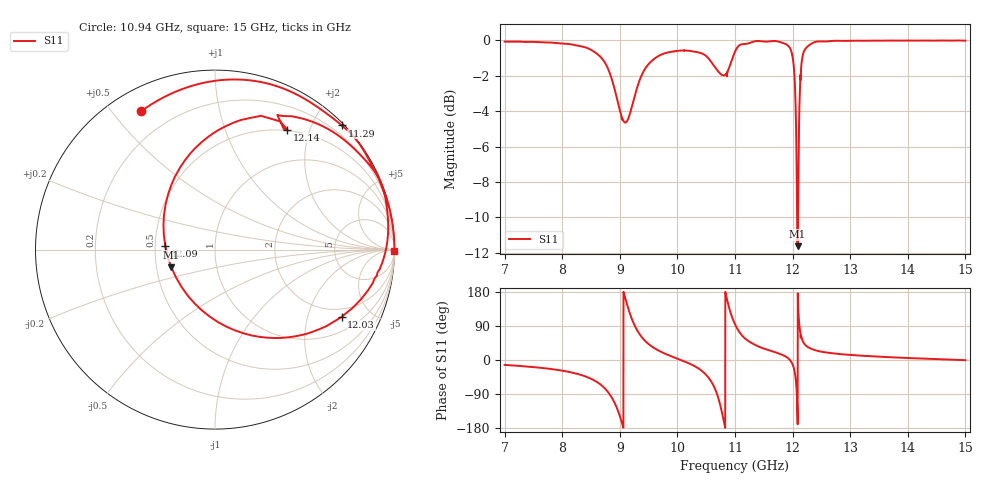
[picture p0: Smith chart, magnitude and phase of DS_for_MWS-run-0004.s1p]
! TOUCHSTONE file generated by CST DESIGN STUDIO
! Date and time: Mon Feb 10 16:41:30 2025
! Project name: C:\Work\MatlabApps\UnitCellType2OptimizationMatlab\CST\unitcell.cst
! Tree item: Tasks\Sweep1\SPara1\S-Parameters
! Header version: 2024
! Port assignment regex: !\s*Touchstone port\s*([0-9]+)\s*=\s*(CST MWS port|CST DES external port|CST DES block port)\s*(.+)\s* \(\"(.*)\"\)(\s*mode\s*([0-9]+))?.*
! Touchstone port assignment:
! Touchstone port 1 = CST DES external port 1 ("")
# GHz S MA R 50
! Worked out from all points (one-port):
!   4001 points, 7 GHz to 15 GHz, reference 50 ohm
!   lowest |S11| = -11.6 dB at 12.09 GHz (marker M1), VSWR 1.71, Z = 30 - j6.42 ohm
!   |S11| at or under -10 dB: 12.07842 GHz to 12.09382 GHz (15.4 MHz wide, 0.127 % of centre)
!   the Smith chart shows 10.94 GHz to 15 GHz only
!   S11 on the Smith chart (normalised r, x): 10.94 GHz: 0.09, +0.60; 11.29 GHz: 0.04, +2.45; 12.03 GHz: 1.59, -3.30; 12.09 GHz: 0.57, +0.02; 12.14 GHz: 0.49, +1.66; 15 GHz: open
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7  0.9927 -13.0
8  0.9804 -28.1
8.468  0.9468 -47.3
8.764  0.8528 -78.9
9  0.6361 -147.7
9.114  0.5884 152.9
9.292  0.7281 80.8
9.56  0.8771 35.1
10  0.9346 3.6
10.456  0.914 -32.8
10.69  0.8246 -90.7
10.752  0.804 -124.1
10.818  0.7976 -170.4
10.938  0.8738 118.0
11  0.9304 94.3
11.126  0.9762 63.9
11.294  0.989 44.4
11.846  0.9819 11.8
12  0.8997 -11.8
12.032  0.7992 -28.0
12.086  0.2623 -157.7
12.09  0.2774 176.2
12.14  0.7801 58.9
12.2  0.9337 43.5
12.306  0.9745 30.8
13  0.9987 13.4
14  0.9995 5.3
15  0.9986 -0.5
